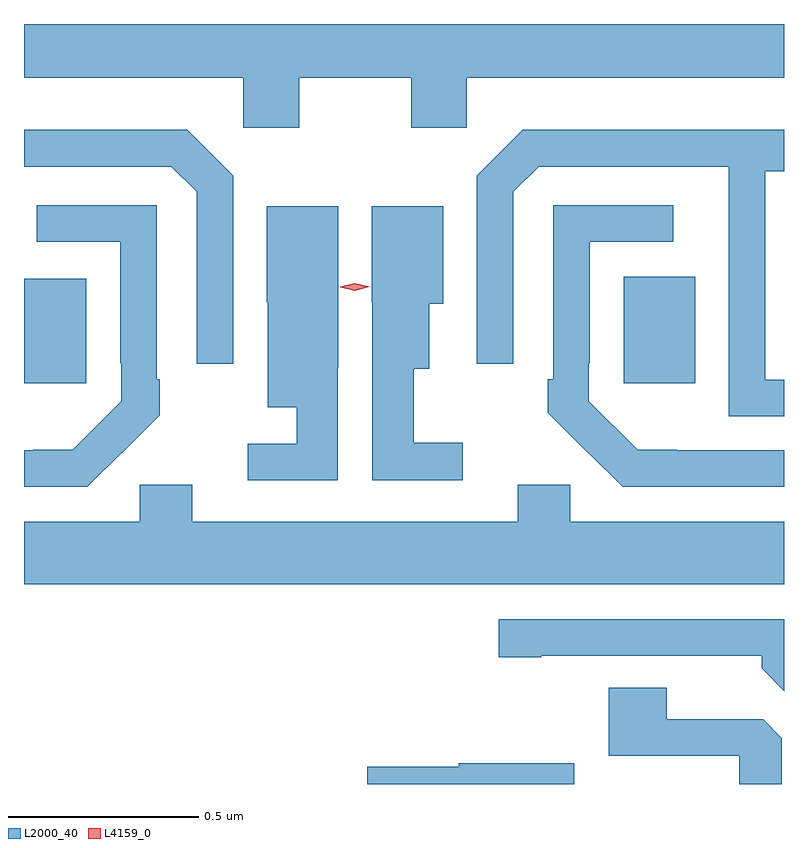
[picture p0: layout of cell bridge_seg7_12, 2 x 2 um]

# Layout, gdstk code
import gdstk
lib = gdstk.Library(unit=1e-6, precision=1e-09)
def R(c, l, rs):  # rectangles x0, y0, x1, y1
    for r in rs: c.add(gdstk.rectangle(r[:2], r[2:], *l))
def P(c, l, *ps):  # polygons
    for p in ps: c.add(gdstk.Polygon(p, *l))
L2000_40 = (2000, 40)
L4159_0 = (4159, 0)

bridge_seg7_12 = lib.new_cell('bridge_seg7_12')
R(bridge_seg7_12, L2000_40, [(1100.837,1041.105,1101.001,1041.379), (1102.415,1041.105,1102.603,1041.385)])
P(bridge_seg7_12, L2000_40, [(1101.561,1041.908),(1101.856,1041.908),(1101.856,1041.777),(1102.002,1041.777),(1102.002,1041.908),(1102.837,1041.908),(1102.837,1042.05),(1100.837,1042.05),(1100.837,1041.908),(1101.414,1041.908),(1101.414,1041.777),(1101.561,1041.777)],
  [(1101.387,1041.651),(1101.266,1041.772),(1100.837,1041.772),(1100.837,1041.675),(1101.225,1041.675),(1101.291,1041.609),(1101.291,1041.156),(1101.387,1041.156)],
  [(1102.837,1041.114),(1102.788,1041.114),(1102.788,1041.662),(1102.837,1041.662),(1102.837,1041.772),(1102.15,1041.772),(1102.029,1041.651),(1102.029,1041.156),(1102.125,1041.156),(1102.125,1041.609),(1102.191,1041.675),(1102.692,1041.675),(1102.692,1041.018),(1102.837,1041.018)],
  [(1102.837,1040.928),(1102.555,1040.928),(1102.555,1040.929),(1102.452,1040.929),(1102.323,1041.057),(1102.323,1041.157),(1102.326,1041.157),(1102.326,1041.477),(1102.546,1041.477),(1102.546,1041.573),(1102.23,1041.573),(1102.23,1041.115),(1102.215,1041.115),(1102.215,1041.027),(1102.32,1040.922),(1102.321,1040.923),(1102.412,1040.832),(1102.837,1040.832)],
  [(1101.095,1040.923),(1101.096,1040.922),(1101.194,1041.02),(1101.194,1041.115),(1101.186,1041.115),(1101.186,1041.573),(1100.871,1041.573),(1100.871,1041.477),(1101.09,1041.477),(1101.09,1041.157),(1101.093,1041.157),(1101.093,1041.057),(1100.965,1040.929),(1100.861,1040.929),(1100.861,1040.928),(1100.837,1040.928),(1100.837,1040.832),(1101.004,1040.832)],
  [(1101.663,1041.145),(1101.664,1041.145),(1101.664,1041.571),(1101.476,1041.571),(1101.476,1041.318),(1101.479,1041.318),(1101.479,1041.041),(1101.555,1041.041),(1101.555,1040.946),(1101.426,1040.946),(1101.426,1040.85),(1101.663,1040.85)],
  [(1101.991,1040.948),(1101.862,1040.948),(1101.862,1041.143),(1101.904,1041.143),(1101.904,1041.314),(1101.94,1041.314),(1101.94,1041.571),(1101.752,1041.571),(1101.752,1041.318),(1101.753,1041.318),(1101.753,1040.85),(1101.991,1040.85)],
  [(1102.837,1040.74),(1102.275,1040.74),(1102.275,1040.838),(1102.136,1040.838),(1102.136,1040.74),(1101.28,1040.74),(1101.28,1040.838),(1101.141,1040.838),(1101.141,1040.74),(1100.837,1040.74),(1100.837,1040.576),(1102.837,1040.576)],
  [(1102.837,1040.484),(1102.086,1040.484),(1102.086,1040.383),(1102.198,1040.383),(1102.198,1040.388),(1102.778,1040.388),(1102.778,1040.354),(1102.837,1040.294)],
  [(1102.831,1040.171),(1102.782,1040.22),(1102.528,1040.22),(1102.528,1040.303),(1102.376,1040.303),(1102.376,1040.124),(1102.719,1040.124),(1102.719,1040.05),(1102.831,1040.05)],
  [(1102.285,1040.104),(1101.981,1040.104),(1101.981,1040.095),(1101.74,1040.095),(1101.74,1040.05),(1102.285,1040.05)])
P(bridge_seg7_12, L4159_0, [(1101.708,1041.348),(1101.669,1041.357),(1101.669,1041.358),(1101.669,1041.358),(1101.708,1041.368),(1101.747,1041.358),(1101.748,1041.358),(1101.747,1041.358)])

lib.write_gds('bridge_seg7_12.gds')
